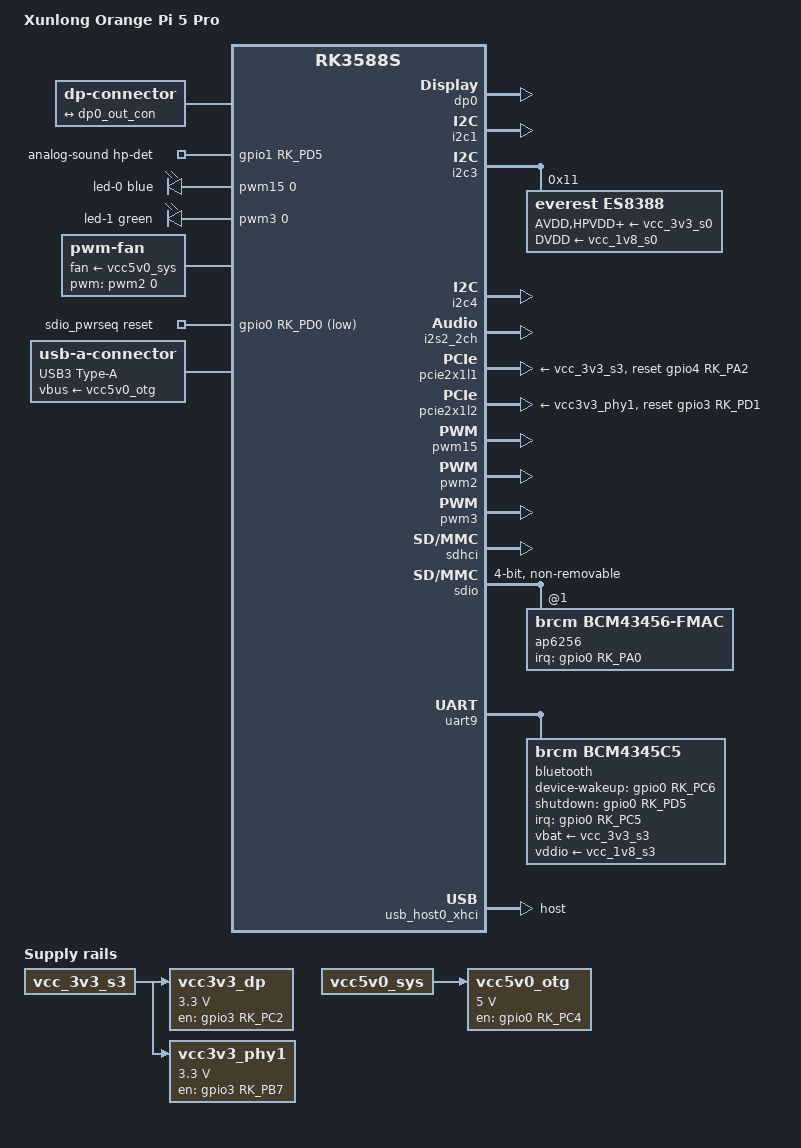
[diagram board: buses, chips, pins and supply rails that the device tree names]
// SPDX-License-Identifier: (GPL-2.0+ OR MIT)

/dts-v1/;

#include "rk3588s-orangepi-5.dtsi"

/ {
	model = "Xunlong Orange Pi 5 Pro";
	compatible = "xunlong,orangepi-5-pro", "rockchip,rk3588s";

	aliases {
		mmc0 = &sdhci;
		mmc1 = &sdmmc;
		mmc2 = &sdio;
	};

	dp-con {
		compatible = "dp-connector";

		port {
			dp_con_in: endpoint {
				remote-endpoint = <&dp0_out_con>;
			};
		};
	};

	analog-sound {
		compatible = "simple-audio-card";
		pinctrl-names = "default";
		pinctrl-0 = <&hp_detect>;
		simple-audio-card,bitclock-master = <&masterdai>;
		simple-audio-card,format = "i2s";
		simple-audio-card,frame-master = <&masterdai>;
		simple-audio-card,hp-det-gpios = <&gpio1 RK_PD5 GPIO_ACTIVE_HIGH>;
		simple-audio-card,mclk-fs = <256>;
		simple-audio-card,name = "rockchip,es8388";
		simple-audio-card,routing =
			"Headphones", "LOUT1",
			"Headphones", "ROUT1",
			"LINPUT1", "Microphone Jack",
			"RINPUT1", "Microphone Jack",
			"LINPUT2", "Onboard Microphone",
			"RINPUT2", "Onboard Microphone";
		simple-audio-card,widgets =
			"Microphone", "Microphone Jack",
			"Microphone", "Onboard Microphone",
			"Headphone", "Headphones";

		simple-audio-card,cpu {
			sound-dai = <&i2s2_2ch>;
		};

		masterdai: simple-audio-card,codec {
			sound-dai = <&es8388>;
			system-clock-frequency = <12288000>;
		};
	};

	pwm-leds {
		compatible = "pwm-leds";

		led-0 {
			color = <LED_COLOR_ID_BLUE>;
			function = LED_FUNCTION_STATUS;
			linux,default-trigger = "heartbeat";
			max-brightness = <255>;
			pwms = <&pwm15 0 1000000 0>;
		};

		led-1 {
			color = <LED_COLOR_ID_GREEN>;
			function = LED_FUNCTION_ACTIVITY;
			linux,default-trigger = "heartbeat";
			max-brightness = <255>;
			pwms = <&pwm3 0 1000000 0>;
		};
	};

	fan: pwm-fan {
		compatible = "pwm-fan";
		#cooling-cells = <2>;
		cooling-levels = <0 50 100 150 200 255>;
		fan-supply = <&vcc5v0_sys>;
		pwms = <&pwm2 0 20000000 0>;
	};

	vcc3v3_dp: regulator-vcc3v3-dp {
		compatible = "regulator-fixed";
		enable-active-high;
		gpios = <&gpio3 RK_PC2 GPIO_ACTIVE_HIGH>;
		regulator-always-on;
		regulator-boot-on;
		regulator-max-microvolt = <3300000>;
		regulator-min-microvolt = <3300000>;
		regulator-name = "vcc3v3_dp";
		vin-supply = <&vcc_3v3_s3>;
	};

	vcc3v3_phy1: regulator-vcc3v3-phy1 {
		compatible = "regulator-fixed";
		enable-active-high;
		gpios = <&gpio3 RK_PB7 GPIO_ACTIVE_HIGH>;
		regulator-boot-on;
		regulator-max-microvolt = <3300000>;
		regulator-min-microvolt = <3300000>;
		regulator-name = "vcc3v3_phy1";
		startup-delay-us = <50000>;
		vin-supply = <&vcc_3v3_s3>;
	};

	vcc5v0_otg: regulator-vcc5v0-otg {
		compatible = "regulator-fixed";
		enable-active-high;
		gpios = <&gpio0 RK_PC4 GPIO_ACTIVE_HIGH>;
		pinctrl-names = "default";
		pinctrl-0 = <&vcc5v0_otg_en>;
		regulator-max-microvolt = <5000000>;
		regulator-min-microvolt = <5000000>;
		regulator-name = "vcc5v0_otg";
		vin-supply = <&vcc5v0_sys>;
	};

	sdio_pwrseq: sdio-pwrseq {
		compatible = "mmc-pwrseq-simple";
		clocks = <&hym8563>;
		clock-names = "ext_clock";
		post-power-on-delay-ms = <200>;
		reset-gpios = <&gpio0 RK_PD0 GPIO_ACTIVE_LOW>;
	};

	typea_con: usb-a-connector {
		compatible = "usb-a-connector";
		data-role = "host";
		label = "USB3 Type-A";
		power-role = "source";
		vbus-supply = <&vcc5v0_otg>;
	};
};

&dp0 {
	pinctrl-names = "default";
	pinctrl-0 = <&dp0m0_pins>;
	status = "okay";
};

&dp0_in {
	dp0_in_vp1: endpoint {
		remote-endpoint = <&vp1_out_dp0>;
	};
};

&dp0_out {
	dp0_out_con: endpoint {
		remote-endpoint = <&dp_con_in>;
	};
};

&i2c1 {
	pinctrl-names = "default";
	pinctrl-0 = <&i2c1m4_xfer>;
	status = "okay";
};

&i2c3 {
	pinctrl-names = "default";
	pinctrl-0 = <&i2c3m0_xfer>;
	status = "okay";

	es8388: audio-codec@11 {
		compatible = "everest,es8388", "everest,es8328";
		reg = <0x11>;
		#sound-dai-cells = <0>;
		AVDD-supply = <&vcc_3v3_s0>;
		DVDD-supply = <&vcc_1v8_s0>;
		HPVDD-supply = <&vcc_3v3_s0>;
		PVDD-supply = <&vcc_3v3_s0>;
		assigned-clock-rates = <12288000>;
		assigned-clocks = <&cru I2S2_2CH_MCLKOUT>;
		clocks = <&cru I2S2_2CH_MCLKOUT>;
		pinctrl-names = "default";
		pinctrl-0 = <&i2s2m1_mclk>;
	};
};

&i2c4 {
	pinctrl-names = "default";
	pinctrl-0 = <&i2c4m3_xfer>;
	status = "okay";
};

&i2s2_2ch {
	pinctrl-0 = <&i2s2m1_lrck &i2s2m1_sclk
		     &i2s2m1_sdi &i2s2m1_sdo>;
	status = "okay";
};

&package_thermal {
	polling-delay = <1000>;

	cooling-maps {
		map0 {
			trip = <&package_fan0>;
			cooling-device = <&fan THERMAL_NO_LIMIT 1>;
		};

		map1 {
			trip = <&package_fan1>;
			cooling-device = <&fan 2 THERMAL_NO_LIMIT>;
		};
	};

	trips {
		package_fan0: package-fan0 {
			hysteresis = <2000>;
			temperature = <55000>;
			type = "active";
		};

		package_fan1: package-fan1 {
			hysteresis = <2000>;
			temperature = <65000>;
			type = "active";
		};
	};
};

/* NVMe */
&pcie2x1l1 {
	pinctrl-names = "default";
	pinctrl-0 = <&pcie30x1m1_1_clkreqn &pcie30x1m1_1_waken>;
	reset-gpios = <&gpio4 RK_PA2 GPIO_ACTIVE_HIGH>;
	supports-clkreq;
	vpcie3v3-supply = <&vcc_3v3_s3>;
	status = "okay";
};

/* NIC */
&pcie2x1l2 {
	reset-gpios = <&gpio3 RK_PD1 GPIO_ACTIVE_HIGH>;
	vpcie3v3-supply = <&vcc3v3_phy1>;
	status = "okay";
};

&pinctrl {
	bluetooth {
		bt_wake_gpio: bt-wake-pin {
			rockchip,pins = <0 RK_PC6 RK_FUNC_GPIO &pcfg_pull_none>;
		};

		bt_wake_host_irq: bt-wake-host-irq {
			rockchip,pins = <0 RK_PC5 RK_FUNC_GPIO &pcfg_pull_down>;
		};
	};

	usb {
		vcc5v0_otg_en: vcc5v0-otg-en {
			rockchip,pins = <0 RK_PC4 RK_FUNC_GPIO &pcfg_pull_none>;
		};
	};

	wlan {
		wifi_host_wake_irq: wifi-host-wake-irq {
			rockchip,pins = <0 RK_PA0 RK_FUNC_GPIO &pcfg_pull_down>;
		};
	};
};

&pwm15 {
	pinctrl-names = "default";
	pinctrl-0 = <&pwm15m2_pins>;
	status = "okay";
};

&pwm2 {
	pinctrl-names = "default";
	pinctrl-0 = <&pwm2m1_pins>;
	status = "okay";
};

&pwm3 {
	pinctrl-names = "default";
	pinctrl-0 = <&pwm3m2_pins>;
	status = "okay";
};

&sdhci {
	status = "okay";
};

&sdio {
	#address-cells = <1>;
	#size-cells = <0>;
	bus-width = <4>;
	cap-sd-highspeed;
	cap-sdio-irq;
	keep-power-in-suspend;
	max-frequency = <150000000>;
	mmc-pwrseq = <&sdio_pwrseq>;
	no-mmc;
	no-sd;
	non-removable;
	sd-uhs-sdr104;
	status = "okay";

	ap6256: wifi@1 {
		compatible = "brcm,bcm43456-fmac", "brcm,bcm4329-fmac";
		reg = <1>;
		interrupt-names = "host-wake";
		interrupt-parent = <&gpio0>;
		interrupts = <RK_PA0 IRQ_TYPE_LEVEL_HIGH>;
		pinctrl-names = "default";
		pinctrl-0 = <&wifi_host_wake_irq>;
	};
};

&uart9 {
	pinctrl-names = "default";
	pinctrl-0 = <&uart9m2_xfer &uart9m2_ctsn &uart9m2_rtsn>;
	uart-has-rtscts;
	status = "okay";

	bluetooth {
		compatible = "brcm,bcm4345c5";
		clocks = <&hym8563>;
		clock-names = "lpo";
		device-wakeup-gpios = <&gpio0 RK_PC6 GPIO_ACTIVE_HIGH>;
		interrupt-names = "host-wakeup";
		interrupt-parent = <&gpio0>;
		interrupts = <RK_PC5 IRQ_TYPE_LEVEL_HIGH>;
		max-speed = <1500000>;
		pinctrl-names = "default";
		pinctrl-0 = <&bt_wake_host_irq &bt_wake_gpio>;
		shutdown-gpios = <&gpio0 RK_PD5 GPIO_ACTIVE_HIGH>;
		vbat-supply = <&vcc_3v3_s3>;
		vddio-supply = <&vcc_1v8_s3>;
	};
};

&usb_host0_xhci {
	dr_mode = "host";
};

&usbdp_phy0 {
	rockchip,dp-lane-mux = <0 1>;
};

&vp1 {
	vp1_out_dp0: endpoint@a {
		reg = <ROCKCHIP_VOP2_EP_DP0>;
		remote-endpoint = <&dp0_in_vp1>;
	};
};
